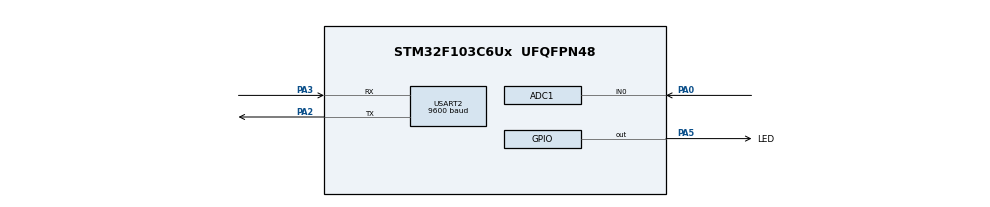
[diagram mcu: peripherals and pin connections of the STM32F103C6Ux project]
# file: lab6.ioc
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ADC1.Channel-0\#ChannelRegularConversion=ADC_CHANNEL_0
ADC1.ContinuousConvMode=ENABLE
ADC1.NbrOfConversionFlag=1
ADC1.Rank-0\#ChannelRegularConversion=1
ADC1.SamplingTime-0\#ChannelRegularConversion=ADC_SAMPLETIME_1CYCLE_5
ADC1.master=1
Mcu.Family=STM32F1
Mcu.Name=STM32F103C6Ux
Mcu.Package=UFQFPN48
NVIC.PriorityGroup=NVIC_PRIORITYGROUP_4
NVIC.USART2_IRQn=true\:0\:0\:false\:false\:true\:true\:true
PA0-WKUP.Signal=ADCx_IN0
PA2.Mode=Asynchronous
PA2.Signal=USART2_TX
PA3.Mode=Asynchronous
PA3.Signal=USART2_RX
PA5.GPIO_Label=LED
PA5.Signal=GPIO_Output
ProjectManager.HeapSize=0x200
ProjectManager.StackSize=0x400
ProjectManager.TargetToolchain=STM32CubeIDE
RCC.APB1Freq_Value=8000000
RCC.APB2Freq_Value=8000000
SH.ADCx_IN0.0=ADC1_IN0,IN0
USART2.BaudRate=9600
USART2.VirtualMode=VM_ASYNC
VP_SYS_VS_ND.Mode=No_Debug
board=custom

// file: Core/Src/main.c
/* USER CODE BEGIN Header */
/**
  ******************************************************************************
  * @file           : main.c
  * @brief          : Main program body
  ******************************************************************************
  * @attention
  *
  * <h2><center>&copy; Copyright (c) 2025 STMicroelectronics.
  * All rights reserved.</center></h2>
  *
  * This software component is licensed by ST under BSD 3-Clause license,
  * the "License"; You may not use this file except in compliance with the
  * License. You may obtain a copy of the License at:
  *                        opensource.org/licenses/BSD-3-Clause
  *
  ******************************************************************************
  */
/* USER CODE END Header */
#include "main.h"
#include "command_parser.h"
#include "uart_comm.h"
#include "adc_reader.h"

ADC_HandleTypeDef hadc1;

UART_HandleTypeDef huart2;

/* USER CODE BEGIN PV */

// Biến cho buffer gửi (Tx - Echo)
uint8_t temp = 0;
uint8_t buffer[MAX_BUFFER_SIZE];
uint8_t index_buffer = 0;
uint8_t buffer_flag = 0;
/* USER CODE END PV */

void SystemClock_Config(void);
static void MX_GPIO_Init(void);
static void MX_ADC1_Init(void);
static void MX_USART2_UART_Init(void);

int main(void)
{

  /* MCU Configuration--------------------------------------------------------*/

  /* Reset of all peripherals, Initializes the Flash interface and the Systick. */
  HAL_Init();

  /* Configure the system clock */
  SystemClock_Config();

  /* Initialize all configured peripherals */
  MX_GPIO_Init();
  MX_ADC1_Init();
  MX_USART2_UART_Init();
  /* USER CODE BEGIN 2 */
  HAL_UART_Receive_IT(&huart2, &temp, 1); // Bật UART ngắt
  command_parser_init();
  uart_communication_init();
  HAL_ADC_Start(&hadc1);
  /* USER CODE END 2 */

  /* Infinite loop */
  while (1)
  {
    /* USER CODE BEGIN 3 */
	  HAL_GPIO_TogglePin(LED_GPIO_Port, LED_Pin);
	  HAL_Delay(500);

	          // Xử lý lệnh
	 if (buffer_flag == 1) {
	          command_parser_fsm(buffer);
	          buffer_flag = 0;
	          index_buffer = 0;
	  }

	  // FSM giao tiếp UART
      uint32_t ADC_value = adc_reader_get_value(&hadc1); // Đọc giá trị ADC
      uart_communication_fsm(&huart2, ADC_value, command_flag);

  }
  /* USER CODE END 3 */
}

void SystemClock_Config(void)
{
  RCC_OscInitTypeDef RCC_OscInitStruct = {0};
  RCC_ClkInitTypeDef RCC_ClkInitStruct = {0};
  RCC_PeriphCLKInitTypeDef PeriphClkInit = {0};

  /** Initializes the RCC Oscillators according to the specified parameters
  * in the RCC_OscInitTypeDef structure.
  */
  RCC_OscInitStruct.OscillatorType = RCC_OSCILLATORTYPE_HSI;
  RCC_OscInitStruct.HSIState = RCC_HSI_ON;
  RCC_OscInitStruct.HSICalibrationValue = RCC_HSICALIBRATION_DEFAULT;
  RCC_OscInitStruct.PLL.PLLState = RCC_PLL_NONE;
  if (HAL_RCC_OscConfig(&RCC_OscInitStruct) != HAL_OK)
  {
    Error_Handler();
  }
  /** Initializes the CPU, AHB and APB buses clocks
  */
  RCC_ClkInitStruct.ClockType = RCC_CLOCKTYPE_HCLK|RCC_CLOCKTYPE_SYSCLK
                              |RCC_CLOCKTYPE_PCLK1|RCC_CLOCKTYPE_PCLK2;
  RCC_ClkInitStruct.SYSCLKSource = RCC_SYSCLKSOURCE_HSI;
  RCC_ClkInitStruct.AHBCLKDivider = RCC_SYSCLK_DIV1;
  RCC_ClkInitStruct.APB1CLKDivider = RCC_HCLK_DIV1;
  RCC_ClkInitStruct.APB2CLKDivider = RCC_HCLK_DIV1;

  if (HAL_RCC_ClockConfig(&RCC_ClkInitStruct, FLASH_LATENCY_0) != HAL_OK)
  {
    Error_Handler();
  }
  PeriphClkInit.PeriphClockSelection = RCC_PERIPHCLK_ADC;
  PeriphClkInit.AdcClockSelection = RCC_ADCPCLK2_DIV2;
  if (HAL_RCCEx_PeriphCLKConfig(&PeriphClkInit) != HAL_OK)
  {
    Error_Handler();
  }
}

static void MX_ADC1_Init(void)
{

  ADC_ChannelConfTypeDef sConfig = {0};

  /** Common config
  */
  hadc1.Instance = ADC1;
  hadc1.Init.ScanConvMode = ADC_SCAN_DISABLE;
  hadc1.Init.ContinuousConvMode = ENABLE;
  hadc1.Init.DiscontinuousConvMode = DISABLE;
  hadc1.Init.ExternalTrigConv = ADC_SOFTWARE_START;
  hadc1.Init.DataAlign = ADC_DATAALIGN_RIGHT;
  hadc1.Init.NbrOfConversion = 1;
  if (HAL_ADC_Init(&hadc1) != HAL_OK)
  {
    Error_Handler();
  }
  /** Configure Regular Channel
  */
  sConfig.Channel = ADC_CHANNEL_0;
  sConfig.Rank = ADC_REGULAR_RANK_1;
  sConfig.SamplingTime = ADC_SAMPLETIME_1CYCLE_5;
  if (HAL_ADC_ConfigChannel(&hadc1, &sConfig) != HAL_OK)
  {
    Error_Handler();
  }

}

static void MX_USART2_UART_Init(void)
{

  huart2.Instance = USART2;
  huart2.Init.BaudRate = 9600;
  huart2.Init.WordLength = UART_WORDLENGTH_8B;
  huart2.Init.StopBits = UART_STOPBITS_1;
  huart2.Init.Parity = UART_PARITY_NONE;
  huart2.Init.Mode = UART_MODE_TX_RX;
  huart2.Init.HwFlowCtl = UART_HWCONTROL_NONE;
  huart2.Init.OverSampling = UART_OVERSAMPLING_16;
  if (HAL_UART_Init(&huart2) != HAL_OK)
  {
    Error_Handler();
  }

}

static void MX_GPIO_Init(void)
{
  GPIO_InitTypeDef GPIO_InitStruct = {0};

  /* GPIO Ports Clock Enable */
  __HAL_RCC_GPIOA_CLK_ENABLE();

  /*Configure GPIO pin Output Level */
  HAL_GPIO_WritePin(LED_GPIO_Port, LED_Pin, GPIO_PIN_RESET);

  /*Configure GPIO pin : LED_Pin */
  GPIO_InitStruct.Pin = LED_Pin;
  GPIO_InitStruct.Mode = GPIO_MODE_OUTPUT_PP;
  GPIO_InitStruct.Pull = GPIO_NOPULL;
  GPIO_InitStruct.Speed = GPIO_SPEED_FREQ_LOW;
  HAL_GPIO_Init(LED_GPIO_Port, &GPIO_InitStruct);

}

/* USER CODE BEGIN 4 */
void HAL_UART_RxCpltCallback(UART_HandleTypeDef *huart) {
    if (huart->Instance == USART2) {
    	HAL_UART_Transmit(huart, &temp, 1, 10);
    	if (temp == '!') {
    		index_buffer = 0;
    	}
    	// Thêm ký tự vào buffer (nếu chưa đầy)
    	if (index_buffer < MAX_BUFFER_SIZE - 1) { // -1 để chừa chỗ cho \0
    	    buffer[index_buffer++] = temp;
    	}

    	if (temp == '#') {
    	    buffer[index_buffer] = '\0'; // Thêm ký tự Null-terminated
    	    buffer_flag = 1;         // Đặt cờ báo hiệu có lệnh mới
    	    // index_buffer sẽ được reset trong main loop
    	}

        HAL_UART_Receive_IT(huart, &temp, 1); // Enable interrupt again
    }
}
/* USER CODE END 4 */

void Error_Handler(void)
{
  __disable_irq();
  while (1)
  {
  }
}

/************************ (C) COPYRIGHT STMicroelectronics *****END OF FILE****/
